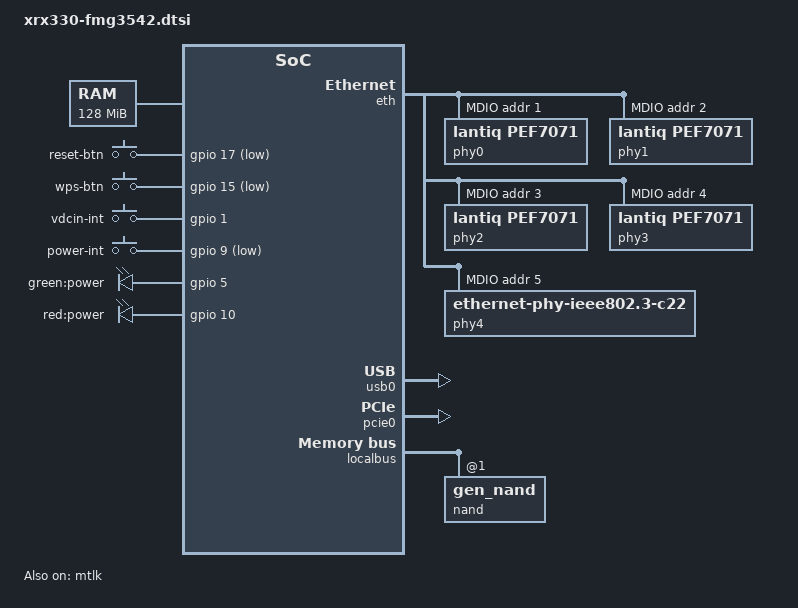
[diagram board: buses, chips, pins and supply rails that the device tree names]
// SPDX-License-Identifier: GPL-2.0
/*
 * Copyright (C) 2014-2019 Sphairon GmbH (a Zyxel company)
 */

#include <dt-bindings/gpio/gpio.h>
#include "xrx330.dtsi"

/ {
	memory {
		device_type = "memory";
		reg = <0 0x8000000>;
	};

	gpio-keys-polled {
		compatible = "gpio-keys-polled";
		#address-cells = <1>;
		#size-cells = <0>;
		poll-interval = <101>;

		pinctrl-names = "default";
		pinctrl-0 = <&pins_gpio_keys_default>;

		reset {
			label = "reset-btn";
			gpios = <&gpio 17 GPIO_ACTIVE_LOW>;	/* GPIO17, LO active, debounced */
			linux,code = <0x100>;	/* BTN_0 */
		};
		wps {
			label = "wps-btn";
			gpios = <&gpio 15 GPIO_ACTIVE_LOW>;	/* GPIO15, LO active, debounced */
			linux,code = <0x101>;	/* BTN_1 */
		};
		dc {
			label = "vdcin-int";
			gpios = <&gpio 1 GPIO_ACTIVE_HIGH>;    /* GPIO1, HI active? */
			linux,code = <0x104>;	/* BTN_4 */
		};
		power {
			label = "power-int";
			gpios = <&gpio 9 GPIO_ACTIVE_LOW>;    /* GPIO9, LO active */
			linux,code = <0x105>;	/* BTN_5 */
		};
	};

	gpio-leds {
		compatible = "gpio-leds";

		power_green {
			label = "green:power";
			gpios = <&gpio 5 GPIO_ACTIVE_HIGH>;
			default-state = "on";
		};
		power_red {
			label = "red:power";
			gpios = <&gpio 10 GPIO_ACTIVE_HIGH>;
			default-state = "off";
		};
	};
};

&gpio {
	pinctrl-names = "default";
	pinctrl-0 = <&pins_default>;

	pins_default: pins_default {
	};

	pins_eth_default: pins_eth_default {
		mdio {
			lantiq,groups = "mdio";
			lantiq,function = "mdio";
			lantiq,output = <1>;
		};
	};

	pins_gpio_keys_default: pins_gpio_keys_default {
		gpio_in {
			lantiq,pins = "io1", "io9",
					"io15", "io17";
			lantiq,output = <0>;
		};
	};

	pins_gpio_leds_default: pins_gpio_leds_default {
		gpio_low_active2 {
			lantiq,pins = "io5", "io10";
			lantiq,output = <1>;
		};
	};

	pins_nand_default: pins_nand_default {
		nand_out {
			lantiq,groups = "nand cle",
					"nand ale", "nand rd",
					"nand wr", "nand wp",
					"nand data";
			lantiq,function = "ebu";
			lantiq,output = <1>;
		};
		nand_in {
			lantiq,groups = "nand rdy";
			lantiq,function = "ebu";
			lantiq,output = <0>;
		};
	};

	pins_ssio_default: pins_ssio_default {
		ssio_out {
			lantiq,groups = "ssio tx";
			lantiq,function = "ssio";
			lantiq,output = <1>;
		};
		ssio_in {
			lantiq,groups = "ssio rx", "ssio clk";
			lantiq,function = "ssio";
			lantiq,output = <0>;
		};
		clk {
			lantiq,groups = "clkout0";
			lantiq,function = "cgu";
			lantiq,output = <1>;
		};
		slic_reset {
			lantiq,pins = "io0";
			lantiq,pull = <0>;
			lantiq,open-drain = <0>;
			lantiq,output = <1>;
			lantiq,drive = <1>;
		};
	};

	pins_mtlk_default: pins_mtlk_default {
		hw_type {
			lantiq,pins = "io6";
			lantiq,pull = <0>;
			lantiq,output = <0>;
		};
	};
};

&mps {
	pinctrl-names = "default";
	pinctrl-0 = <&pins_ssio_default>;

	lantiq,slic-reset = <&gpio 0 GPIO_ACTIVE_HIGH>;
};

&eth {
	pinctrl-names = "default";
	pinctrl-0 = <&pins_eth_default>;

	gphy@0 {
		lantiq,phy-mode = "11g";
		status = "ok";
	};

	gphy@1 {
		lantiq,phy-mode = "11g";
		status = "ok";
	};

	gphy@2 {
		lantiq,phy-mode = "11g";
		status = "ok";
	};

	gphy@3 {
		lantiq,phy-mode = "11g";
		status = "ok";
	};

	mdio@0 {
		phy0: ethernet-phy@1 {
			compatible = "lantiq,pef7071", "ethernet-phy-ieee802.3-c22";
			/*interrupt-parent = <&icu0>;
			interrupts = <122>;*/
			reg = <0x1>;
			lantiq,led0 = <0x0>;
			lantiq,led1 = <0x7003>;
			lantiq,led2 = <0x0>;
		};

		phy1: ethernet-phy@2 {
			compatible = "lantiq,pef7071", "ethernet-phy-ieee802.3-c22";
			/*interrupt-parent = <&icu0>;
			interrupts = <122>;*/
			reg = <0x2>;
			lantiq,led0 = <0x0>;
			lantiq,led1 = <0x7003>;
			lantiq,led2 = <0x0>;
		};

		phy2: ethernet-phy@3 {
			compatible = "lantiq,pef7071", "ethernet-phy-ieee802.3-c22";
			/*interrupt-parent = <&icu0>;
			interrupts = <122>;*/
			reg = <0x3>;
			lantiq,led0 = <0x0>;
			lantiq,led1 = <0x7003>;
			lantiq,led2 = <0x0>;
		};

		phy3: ethernet-phy@4 {
			compatible = "lantiq,pef7071", "ethernet-phy-ieee802.3-c22";
			/*interrupt-parent = <&icu0>;
			interrupts = <122>;*/
			reg = <0x4>;
			lantiq,led0 = <0x0>;
			lantiq,led1 = <0x7003>;
			lantiq,led2 = <0x0>;
		};
		phy4: ethernet-phy@5 {
			compatible = "ethernet-phy-ieee802.3-c22";
			/*interrupt-parent = <&icu0>;
			interrupts = <122>;*/
			reg = <0x5>;	/* MDIO device address 0x5 */
		};
	};

	ethernet@1 {
		phy-handle = <&phy0>;
		phy-mode = "gmii";
		status = "ok";
		lantiq,port-name = "sw-p1-lan1";
	};

	ethernet@2 {
		phy-handle = <&phy1>;
		phy-mode = "gmii";
		status = "ok";
		lantiq,port-name = "sw-p2-lan3";
	};

	ethernet@3 {
		phy-handle = <&phy2>;
		phy-mode = "gmii";
		status = "ok";
		lantiq,port-name = "sw-p3-m2m";
	};

	ethernet@4 {
		phy-handle = <&phy3>;
		phy-mode = "gmii";
		status = "ok";
		lantiq,port-name = "sw-p4-lan2";
	};

	ethernet@5 {
		phy-handle = <&phy4>;
		phy-mode = "rgmii-id";
		status = "ok";
		lantiq,port-name = "sw-p5-wanoe";
		lantiq,wanoe;
	};
};

&usb0 {
	status = "ok";
};

&pcie0 {
	status = "ok";
	lantiq,reset-gpio = <&gpio 27 GPIO_ACTIVE_LOW>;  /* PCI_RESET on GPIO 27, pull up, low active */
};

&localbus {
	nand@1 {
		compatible = "gen_nand", "lantiq,nand-xway";
		reg = <1 0x0 0x2000000>;
		#address-cells = <1>;
		#size-cells = <1>;
		linux,mtd-name = "nand-xway";
		bbt-use-flash;
		bank-width = <2>;
		pinctrl-names = "default";
		lantiq,cs = <1>;
		pinctrl-0 = <&pins_nand_default>;
	};
};

&mtlk {
	pinctrl-names = "default";
	pinctrl-0 = <&pins_mtlk_default>;
	gpios = <&gpio 6 GPIO_ACTIVE_LOW>;
	status = "ok";
};
